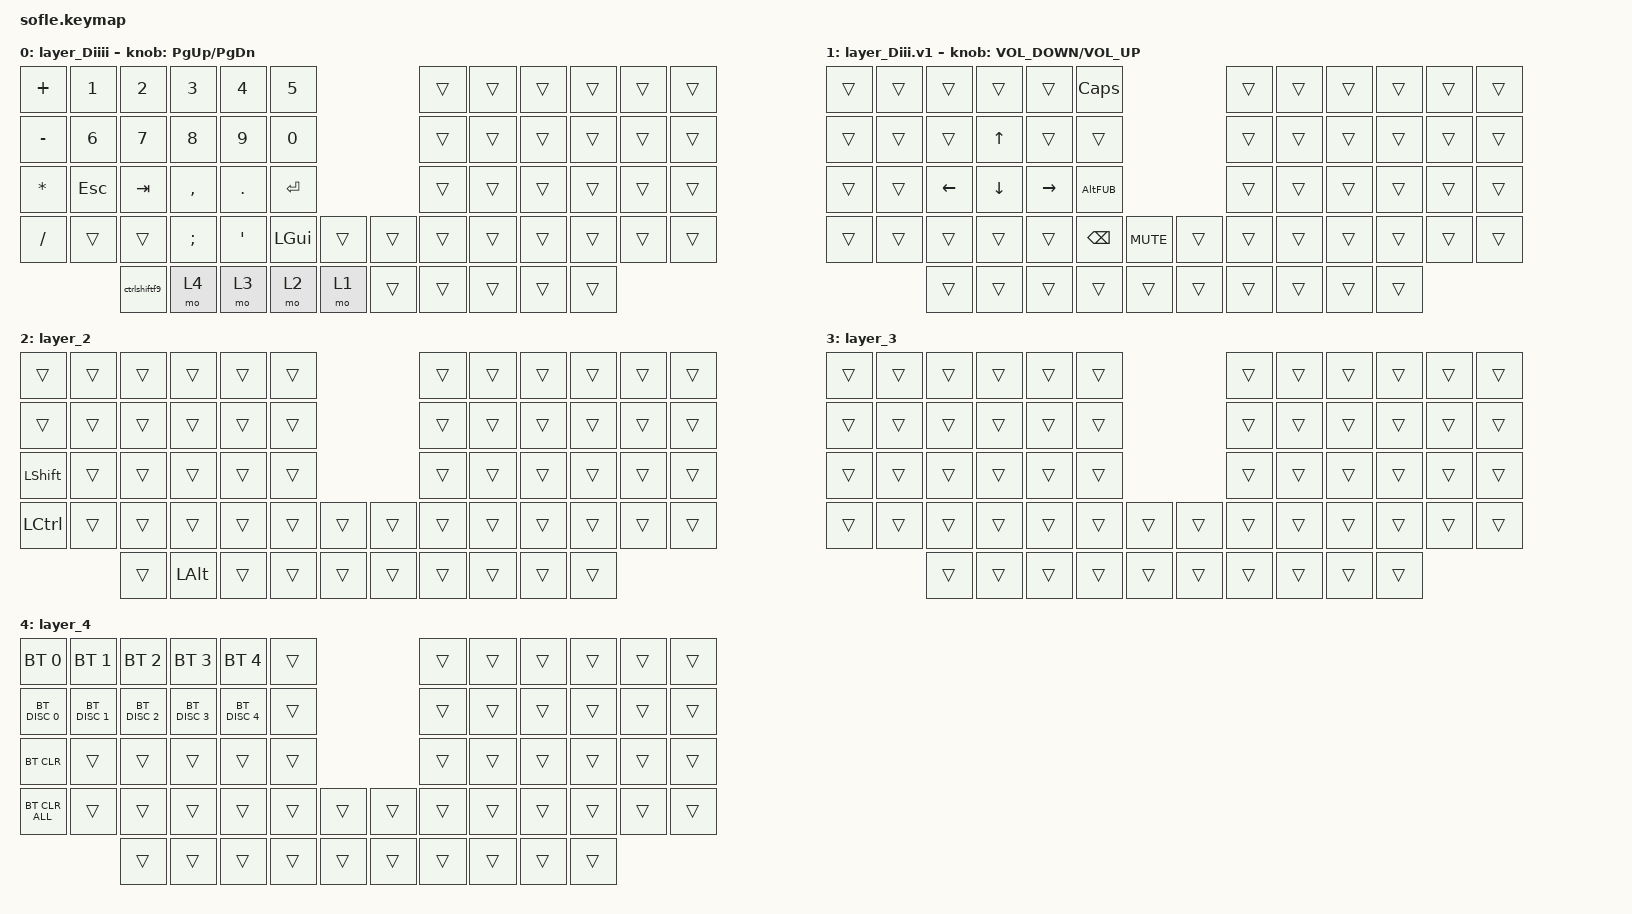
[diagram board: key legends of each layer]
/*
 * Copyright (c) 2020 The ZMK Contributors
 *
 * SPDX-License-Identifier: MIT
 */

#include <behaviors.dtsi>
#include <dt-bindings/zmk/bt.h>
#include <dt-bindings/zmk/keys.h>

#define BASE 0
#define LOWER 1
#define RAISE 2
#define ADJUST 3

/ {
    // Activate ADJUST layer by pressing raise and lower

    conditional_layers { compatible = "zmk,conditional-layers"; };

    combos { compatible = "zmk,combos"; };

    macros {
        ctrshifti: ctrshifti {
            compatible = "zmk,behavior-macro";
            #binding-cells = <0>;
            bindings = <&kp LC(LS(I))>;
            label = "CTRSHIFTI";
        };

        altsme: altsme {
            compatible = "zmk,behavior-macro";
            #binding-cells = <0>;
            bindings = <&kp LEFT_ALT &kp S &kp M &kp E>;
            label = "ALTSME";
        };

        shiftf5: shiftf5 {
            compatible = "zmk,behavior-macro";
            #binding-cells = <0>;
            bindings = <&kp LS(F5)>;
            label = "SHIFTF5";
        };

        ctrlshiftn: ctrlshiftn {
            compatible = "zmk,behavior-macro";
            #binding-cells = <0>;
            bindings = <&kp LC(LS(N))>;
            label = "CTRLSHIFTN";
        };

        altf4: altf4 {
            compatible = "zmk,behavior-macro";
            #binding-cells = <0>;
            bindings = <&kp LA(F4)>;
            label = "ALTF4";
        };

        quite: quite {
            compatible = "zmk,behavior-macro";
            #binding-cells = <0>;
            bindings = <&kp LEFT_ALT &kp P &kp ENTER &kp ENTER>;
            label = "QUITE";
        };

        wine: wine {
            compatible = "zmk,behavior-macro";
            #binding-cells = <0>;
            bindings = <&kp LG(E)>;
            label = "WINE";
        };

        wind: wind {
            compatible = "zmk,behavior-macro";
            #binding-cells = <0>;
            bindings = <&kp LG(D)>;
            label = "WIND";
        };

        winr: winr {
            compatible = "zmk,behavior-macro";
            #binding-cells = <0>;
            bindings = <&kp LG(R)>;
            label = "WINR";
        };

        altlf: altlf {
            compatible = "zmk,behavior-macro";
            #binding-cells = <0>;
            bindings = <&kp LEFT_ALT &kp L &kp F>;
            label = "ALTLF";
        };

        ctrlshifts: ctrlshifts {
            compatible = "zmk,behavior-macro";
            #binding-cells = <0>;
            bindings = <&kp LC(LS(S))>;
            label = "CTRLSHIFTS";
        };

        AltFUB: AltFUB {
            compatible = "zmk,behavior-macro";
            #binding-cells = <0>;
            bindings =
                <&macro_press>,
                <&kp LEFT_ALT>,
                <&macro_tap>,
                <&kp F &kp U &kp B>,
                <&macro_release>,
                <&kp LEFT_ALT>;

            label = "ALTFUB";
        };

        ctrlshiftf9: ctrlshiftf9 {
            compatible = "zmk,behavior-macro";
            #binding-cells = <0>;
            bindings =
                <&macro_press>,
                <&kp LCTRL &kp LEFT_SHIFT>,
                <&macro_tap>,
                <&kp F9>,
                <&macro_release>,
                <&kp LCTRL &kp LEFT_SHIFT>;

            label = "CTRLSHIFTF9";
        };
    };

    keymap {
        compatible = "zmk,keymap";

        layer_Diiii {
            bindings = <
&kp PLUS      &kp N1        &kp N2        &kp N3         &kp N4        &kp N5                          &trans  &trans  &trans  &trans  &trans  &trans
&kp MINUS     &kp NUMBER_6  &kp NUMBER_7  &kp NUMBER_8   &kp NUMBER_9  &kp NUMBER_0                    &trans  &trans  &trans  &trans  &trans  &trans
&kp ASTERISK  &kp ESCAPE    &kp TAB       &kp COMMA      &kp PERIOD    &kp RET                         &trans  &trans  &trans  &trans  &trans  &trans
&kp SLASH     &trans        &trans        &kp SEMICOLON  &kp SQT       &kp LEFT_GUI  &trans    &trans  &trans  &trans  &trans  &trans  &trans  &trans
                            &ctrlshiftf9  &mo 4          &mo 3         &mo 2         &mo 1     &trans  &trans  &trans  &trans  &trans
            >;

            sensor-bindings = <&inc_dec_kp PG_UP PAGE_DOWN>;
        };

        layer_Diii.v1 {
            bindings = <
&trans  &trans  &trans    &trans          &trans     &kp CAPS                             &trans  &trans  &trans  &trans  &trans  &trans
&trans  &trans  &trans    &kp UP_ARROW    &trans     &trans                               &trans  &trans  &trans  &trans  &trans  &trans
&trans  &trans  &kp LEFT  &kp DOWN_ARROW  &kp RIGHT  &AltFUB                              &trans  &trans  &trans  &trans  &trans  &trans
&trans  &trans  &trans    &trans          &trans     &kp BACKSPACE  &kp C_MUTE    &trans  &trans  &trans  &trans  &trans  &trans  &trans
                &trans    &trans          &trans     &trans         &trans        &trans  &trans  &trans  &trans  &trans
            >;

            sensor-bindings = <&inc_dec_kp C_VOLUME_DOWN C_VOLUME_UP>;
        };

        layer_2 {
            bindings = <
&trans      &trans  &trans  &trans        &trans  &trans                    &trans  &trans  &trans  &trans  &trans  &trans
&trans      &trans  &trans  &trans        &trans  &trans                    &trans  &trans  &trans  &trans  &trans  &trans
&kp LSHIFT  &trans  &trans  &trans        &trans  &trans                    &trans  &trans  &trans  &trans  &trans  &trans
&kp LCTRL   &trans  &trans  &trans        &trans  &trans  &trans    &trans  &trans  &trans  &trans  &trans  &trans  &trans
                    &trans  &kp LEFT_ALT  &trans  &trans  &trans    &trans  &trans  &trans  &trans  &trans
            >;
        };

        layer_3 {
            bindings = <
&trans  &trans  &trans  &trans  &trans  &trans                    &trans  &trans  &trans  &trans  &trans  &trans
&trans  &trans  &trans  &trans  &trans  &trans                    &trans  &trans  &trans  &trans  &trans  &trans
&trans  &trans  &trans  &trans  &trans  &trans                    &trans  &trans  &trans  &trans  &trans  &trans
&trans  &trans  &trans  &trans  &trans  &trans  &trans    &trans  &trans  &trans  &trans  &trans  &trans  &trans
                &trans  &trans  &trans  &trans  &trans    &trans  &trans  &trans  &trans  &trans
            >;
        };

        layer_4 {
            bindings = <
&bt BT_SEL 0    &bt BT_SEL 1   &bt BT_SEL 2   &bt BT_SEL 3   &bt BT_SEL 4   &trans                    &trans  &trans  &trans  &trans  &trans  &trans
&bt BT_DISC 0   &bt BT_DISC 1  &bt BT_DISC 2  &bt BT_DISC 3  &bt BT_DISC 4  &trans                    &trans  &trans  &trans  &trans  &trans  &trans
&bt BT_CLR      &trans         &trans         &trans         &trans         &trans                    &trans  &trans  &trans  &trans  &trans  &trans
&bt BT_CLR_ALL  &trans         &trans         &trans         &trans         &trans  &trans    &trans  &trans  &trans  &trans  &trans  &trans  &trans
                               &trans         &trans         &trans         &trans  &trans    &trans  &trans  &trans  &trans  &trans
            >;
        };
    };
};
